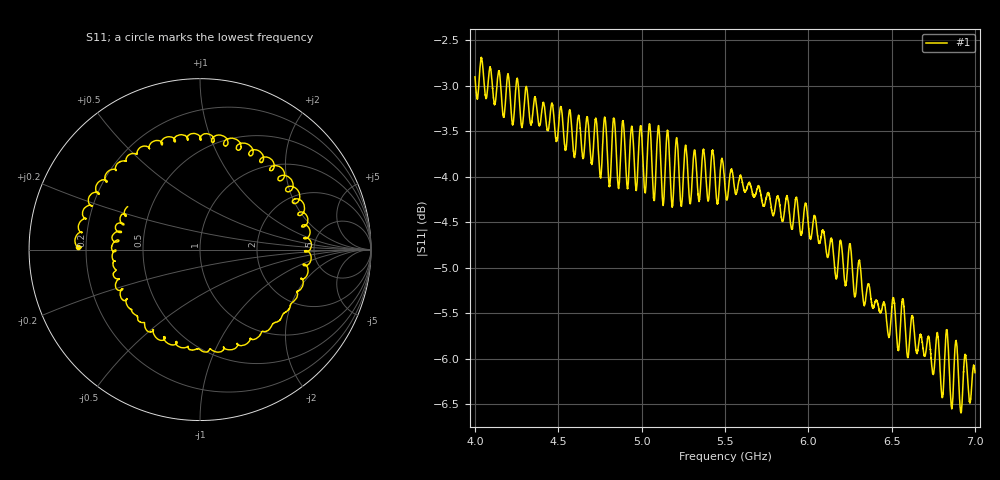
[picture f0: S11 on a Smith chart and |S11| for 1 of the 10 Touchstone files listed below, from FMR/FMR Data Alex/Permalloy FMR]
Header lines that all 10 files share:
#  HZ  S  RI  R  50.0
! Rohde & Schwarz ZVL13 2Ports - Version 3.31 - 1303.6509k13 SN: 101088
! Data & Calibration Information:
! Trc2:S21(TOSM)
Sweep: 4 GHz to 7 GHz
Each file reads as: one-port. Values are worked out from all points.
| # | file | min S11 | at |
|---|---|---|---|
| 1 | PERMALLOY-26mT.s1p | -6.6 dB | 6.916 GHz |
| 2 | PERMALLOY-31mT.s1p | -6.6 dB | 6.916 GHz |
| 3 | PERMALLOY-40mT.s1p | -6.6 dB | 6.916 GHz |
| 4 | PERMALLOY-48mT.s1p | -6.6 dB | 6.916 GHz |
| 5 | PERMALLOY-56mT.s1p | -6.6 dB | 6.916 GHz |
| 6 | PERMALLOY-64mT.s1p | -6.6 dB | 6.916 GHz |
| 7 | PERMALLOY-71mT.s1p | -6.6 dB | 6.916 GHz |
| 8 | PERMALLOY-78mT.s1p | -6.6 dB | 6.916 GHz |
| 9 | PERMALLOY-86mT.s1p | -6.6 dB | 6.916 GHz |
| 10 | PERMALLOY-BACKGROUND.s1p | -6.6 dB | 6.916 GHz |
